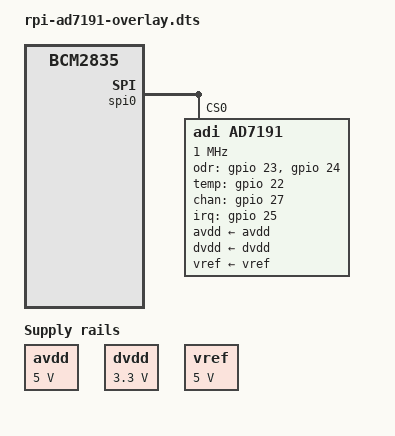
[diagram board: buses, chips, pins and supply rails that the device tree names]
// SPDX-License-Identifier: GPL-2.0
/*
 * Overlay for AD7191 analog to digital converter
 *
 * Copyright 2025 Analog Devices Inc.
 */

/dts-v1/;
/plugin/;

#include <dt-bindings/gpio/gpio.h>
#include <dt-bindings/interrupt-controller/irq.h>

/ {
	compatible = "brcm,bcm2835";

	fragment@0 {
		target-path = "/";
		__overlay__ {
			avdd: fixedregulator@0 {
				compatible = "regulator-fixed";
				regulator-name = "fixed-supply0";
				regulator-min-microvolt = <5000000>;
				regulator-max-microvolt = <5000000>;
				regulator-boot-on;
			};
		};
	};

	fragment@1 {
		target-path = "/";
		__overlay__ {
			dvdd: fixedregulator@1 {
				compatible = "regulator-fixed";
				regulator-name = "fixed-supply1";
				regulator-min-microvolt = <3300000>;
				regulator-max-microvolt = <3300000>;
				regulator-boot-on;
			};
		};
	};

	fragment@2 {
		target-path = "/";
		__overlay__ {
			vref: fixedregulator@2 {
				compatible = "regulator-fixed";
				regulator-name = "fixed-supply2";
				regulator-min-microvolt = <5000000>;
				regulator-max-microvolt = <5000000>;
				regulator-boot-on;
			};
		};
	};

	fragment@3 {
		target = <&spi0>;
		__overlay__ {
			#address-cells = <1>;
			#size-cells = <0>;
			status = "okay";

			ad7191@0 {
				compatible = "adi,ad7191";
				reg = <0>;
				spi-max-frequency = <1000000>;
				spi-cpol;
				spi-cpha;
				#interrupt-cells = <2>;
				interrupts = <25 IRQ_TYPE_EDGE_FALLING>;
				interrupt-parent = <&gpio>;
				avdd-supply = <&avdd>;
				dvdd-supply = <&dvdd>;
				vref-supply = <&vref>;

				adi,pga-value = <128>;
				odr-gpios = <&gpio 23 GPIO_ACTIVE_HIGH>,
					    <&gpio 24 GPIO_ACTIVE_HIGH>;
				temp-gpios = <&gpio 22 GPIO_ACTIVE_HIGH>;
				chan-gpios = <&gpio 27 GPIO_ACTIVE_HIGH>;
			};
		};
	};
};
